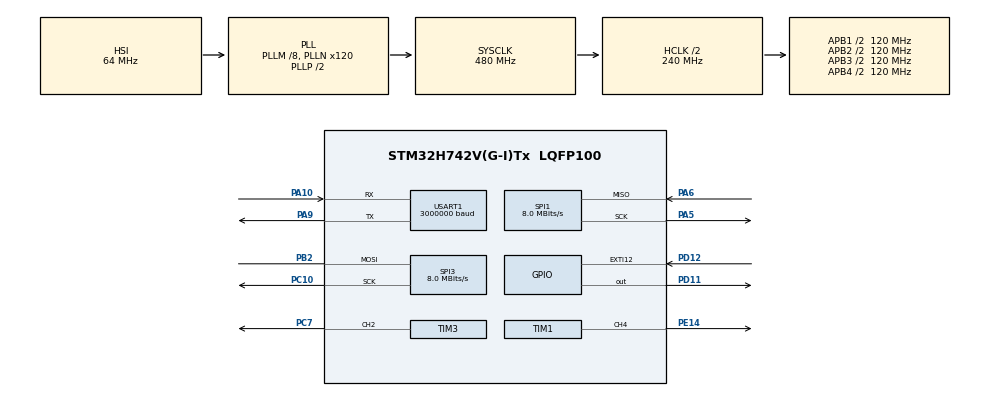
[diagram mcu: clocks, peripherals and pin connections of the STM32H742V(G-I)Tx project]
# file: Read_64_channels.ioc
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CORTEX_M7.default_mode_Activation=1
Dma.Request0=SPI1_RX
Dma.Request1=USART1_TX
Dma.SPI1_RX.0.Direction=DMA_PERIPH_TO_MEMORY
Dma.SPI1_RX.0.EventEnable=DISABLE
Dma.SPI1_RX.0.FIFOMode=DMA_FIFOMODE_DISABLE
Dma.SPI1_RX.0.Instance=DMA1_Stream0
Dma.SPI1_RX.0.MemDataAlignment=DMA_MDATAALIGN_HALFWORD
Dma.SPI1_RX.0.MemInc=DMA_MINC_ENABLE
Dma.SPI1_RX.0.Mode=DMA_NORMAL
Dma.SPI1_RX.0.PeriphDataAlignment=DMA_PDATAALIGN_HALFWORD
Dma.SPI1_RX.0.PeriphInc=DMA_PINC_DISABLE
Dma.SPI1_RX.0.Polarity=HAL_DMAMUX_REQ_GEN_RISING
Dma.SPI1_RX.0.Priority=DMA_PRIORITY_HIGH
Dma.SPI1_RX.0.RequestNumber=1
Dma.SPI1_RX.0.SignalID=NONE
Dma.SPI1_RX.0.SyncEnable=DISABLE
Dma.SPI1_RX.0.SyncPolarity=HAL_DMAMUX_SYNC_NO_EVENT
Dma.SPI1_RX.0.SyncRequestNumber=1
Dma.SPI1_RX.0.SyncSignalID=NONE
Dma.USART1_TX.1.Direction=DMA_MEMORY_TO_PERIPH
Dma.USART1_TX.1.EventEnable=DISABLE
Dma.USART1_TX.1.FIFOMode=DMA_FIFOMODE_DISABLE
Dma.USART1_TX.1.Instance=DMA1_Stream1
Dma.USART1_TX.1.MemDataAlignment=DMA_MDATAALIGN_BYTE
Dma.USART1_TX.1.MemInc=DMA_MINC_ENABLE
Dma.USART1_TX.1.Mode=DMA_NORMAL
Dma.USART1_TX.1.PeriphDataAlignment=DMA_PDATAALIGN_BYTE
Dma.USART1_TX.1.PeriphInc=DMA_PINC_DISABLE
Dma.USART1_TX.1.Polarity=HAL_DMAMUX_REQ_GEN_RISING
Dma.USART1_TX.1.Priority=DMA_PRIORITY_LOW
Dma.USART1_TX.1.RequestNumber=1
Dma.USART1_TX.1.SignalID=NONE
Dma.USART1_TX.1.SyncEnable=DISABLE
Dma.USART1_TX.1.SyncPolarity=HAL_DMAMUX_SYNC_NO_EVENT
Dma.USART1_TX.1.SyncRequestNumber=1
Dma.USART1_TX.1.SyncSignalID=NONE
Mcu.Family=STM32H7
Mcu.Name=STM32H742V(G-I)Tx
Mcu.Package=LQFP100
NVIC.DMA1_Stream0_IRQn=true\:0\:0\:false\:false\:true\:false\:true\:true
NVIC.DMA1_Stream1_IRQn=true\:0\:0\:false\:false\:true\:false\:true\:true
NVIC.EXTI15_10_IRQn=true\:0\:0\:false\:false\:true\:true\:true\:true
NVIC.PriorityGroup=NVIC_PRIORITYGROUP_4
NVIC.SPI1_IRQn=true\:0\:0\:false\:false\:true\:false\:true\:true
NVIC.TIM2_IRQn=true\:0\:0\:false\:false\:true\:true\:true\:true
NVIC.USART1_IRQn=true\:0\:0\:false\:false\:true\:true\:true\:true
PA10.Mode=Asynchronous
PA10.Signal=USART1_RX
PA5.GPIO_Speed=GPIO_SPEED_FREQ_VERY_HIGH
PA5.Mode=RX_Only_Simplex_Unidirect_Master
PA5.Signal=SPI1_SCK
PA6.GPIO_Speed=GPIO_SPEED_FREQ_VERY_HIGH
PA6.Mode=RX_Only_Simplex_Unidirect_Master
PA6.Signal=SPI1_MISO
PA9.Mode=Asynchronous
PA9.Signal=USART1_TX
PB2.GPIO_Speed=GPIO_SPEED_FREQ_VERY_HIGH
PB2.Mode=Simplex_Bidirectional_Master
PB2.Signal=SPI3_MOSI
PC10.Mode=Simplex_Bidirectional_Master
PC10.Signal=SPI3_SCK
PC7.Signal=S_TIM3_CH2
PD11.PinState=GPIO_PIN_SET
PD11.Signal=GPIO_Output
PD12.GPIO_ModeDefaultEXTI=GPIO_MODE_IT_FALLING
PD12.GPIO_PuPd=GPIO_PULLUP
PD12.Signal=GPXTI12
PE14.Signal=S_TIM1_CH4
ProjectManager.HeapSize=0x200
ProjectManager.StackSize=0x400
ProjectManager.TargetToolchain=STM32CubeIDE
RCC.ADCFreq_Value=32000000
RCC.APB1Freq_Value=120000000
RCC.APB2Freq_Value=120000000
RCC.APB3Freq_Value=120000000
RCC.APB4Freq_Value=120000000
RCC.CortexFreq_Value=480000000
RCC.D1PPRE=RCC_APB3_DIV2
RCC.D2PPRE1=RCC_APB1_DIV2
RCC.D2PPRE2=RCC_APB2_DIV2
RCC.D3PPRE=RCC_APB4_DIV2
RCC.DIVM1=8
RCC.DIVM2=8
RCC.DIVN1=120
RCC.DIVN2=64
RCC.DIVP2=16
RCC.HCLKFreq_Value=240000000
RCC.HPRE=RCC_HCLK_DIV2
RCC.PLLFRACN=0
RCC.SPI123CLockSelection=RCC_SPI123CLKSOURCE_PLL2
RCC.SYSCLKFreq_VALUE=480000000
RCC.SYSCLKSource=RCC_SYSCLKSOURCE_PLLCLK
RCC.USBFreq_Value=480000000
SH.S_TIM1_CH4.0=TIM1_CH4,PWM Generation4 CH4
SH.S_TIM3_CH2.0=TIM3_CH2,PWM Generation2 CH2
SPI1.BaudRatePrescaler=SPI_BAUDRATEPRESCALER_4
SPI1.CLKPolarity=SPI_POLARITY_LOW
SPI1.CalculateBaudRate=8.0 MBits/s
SPI1.DataSize=SPI_DATASIZE_16BIT
SPI1.Direction=SPI_DIRECTION_2LINES_RXONLY
SPI1.Mode=SPI_MODE_MASTER
SPI1.VirtualType=VM_MASTER
SPI3.BaudRatePrescaler=SPI_BAUDRATEPRESCALER_4
SPI3.CLKPhase=SPI_PHASE_2EDGE
SPI3.CalculateBaudRate=8.0 MBits/s
SPI3.DataSize=SPI_DATASIZE_12BIT
SPI3.Direction=SPI_DIRECTION_1LINE
SPI3.Mode=SPI_MODE_MASTER
SPI3.VirtualType=VM_MASTER
TIM1.Channel-PWM\ Generation4\ CH4=TIM_CHANNEL_4
TIM1.Period=11
TIM1.Pulse-PWM\ Generation4\ CH4=6
TIM1.TIM_MasterOutputTrigger=TIM_TRGO_UPDATE
TIM1.TIM_MasterSlaveMode=TIM_MASTERSLAVEMODE_ENABLE
TIM2.Period=9
TIM2.Prescaler=23
TIM3.Channel-PWM\ Generation2\ CH2=TIM_CHANNEL_2
TIM3.Period=999
TIM3.Prescaler=19
TIM3.Pulse-PWM\ Generation2\ CH2=500
TIM3.TIM_MasterSlaveMode=TIM_MASTERSLAVEMODE_DISABLE
TIM5.Prescaler=239
USART1.BaudRate=3000000
USART1.VirtualMode-Asynchronous=VM_ASYNC
VP_MEMORYMAP_VS_MEMORYMAP.Mode=CurAppReg
VP_TIM1_VS_ClockSourceINT.Mode=Internal
VP_TIM2_VS_ClockSourceINT.Mode=Internal
VP_TIM3_VS_ClockSourceINT.Mode=Internal
VP_TIM3_VS_ClockSourceITR.Mode=TriggerSource_ITR0
VP_TIM3_VS_ControllerModeGated.Mode=Gated Mode
VP_TIM5_VS_ClockSourceINT.Mode=Internal
board=custom

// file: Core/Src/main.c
/* USER CODE BEGIN Header */
/**
  ******************************************************************************
  * @file           : main.c
  * @brief          : Main program body
  ******************************************************************************
  * @attention
  *
  * Copyright (c) 2025 STMicroelectronics.
  * All rights reserved.
  *
  * This software is licensed under terms that can be found in the LICENSE file
  * in the root directory of this software component.
  * If no LICENSE file comes with this software, it is provided AS-IS.
  *
  ******************************************************************************
  */
/* USER CODE END Header */
#include "main.h"

/* USER CODE BEGIN Includes */
#include <string.h>
#include <stdio.h>
/* USER CODE END Includes */

/* USER CODE BEGIN PTD */
#define NUM_CHANNELS 64
#define NUM_OF_DATA 32
#define HALF_NUM_OF_DATA 16
#define DIM_TEST_PACKET 8

#define PACKET_SIZE 64
#define OFFSET 0
typedef struct __attribute__((packed)) {
    uint8_t  header[3];      // 0x3C, 0x3E, 0x00
    uint32_t timestamp_us;   // from TIM5
    int16_t  ch[PACKET_SIZE];         // channels
} SamplePacket;

/* USER CODE END PTD */

SPI_HandleTypeDef hspi1;
SPI_HandleTypeDef hspi3;
DMA_HandleTypeDef hdma_spi1_rx;

TIM_HandleTypeDef htim1;
TIM_HandleTypeDef htim2;
TIM_HandleTypeDef htim3;
TIM_HandleTypeDef htim5;

UART_HandleTypeDef huart1;
DMA_HandleTypeDef hdma_usart1_tx;

/* USER CODE BEGIN PV */
// --- System state flags ---
volatile uint8_t delay_counter = 0;		// Used during the TIM2 startup sequence (test/init logic)
volatile uint8_t acq_enabled   = 0;      // Acquisition enable/disable flag (controlled via UART commands)
volatile uint8_t uart_tx_done  = 1;      // UART DMA transmission ready flag

// --- SPI Data Buffers ---
volatile uint16_t rx_spi_buffer[NUM_OF_DATA];   // Buffer used only for the initial test pattern sequence
volatile uint16_t spi_rx_buffer[NUM_CHANNELS];  // Main SPI data buffer (64 channels), filled by DMA

// --- Test pattern verification buffers ---
uint8_t test_packet_1[DIM_TEST_PACKET];         // Extracted bytes from the first half of rx_spi_buffer
uint8_t test_packet_2[DIM_TEST_PACKET];         // Extracted bytes from the second half of rx_spi_buffer

// Reference test packet used to validate ADC test mode output
static const uint8_t ref_packet[DIM_TEST_PACKET] =
    {0x30,0x00,0x66,0xF0,0x24,0x01,0xF6,0x80};

// --- DDC232 Configuration Command ---
static const uint16_t value = 0xEC0;    // 12-bit configuration command sent via SPI3

// --- UART Transmission Packet ---
static SamplePacket pkt;                // DMA-safe data packet (static to avoid stack corruption)

// --- UART Receive Buffers ---
char rx_buffer[32];                     // Holds incoming ASCII command ("start", "stop", etc.)
uint8_t rx_index = 0;                   // Current index while building UART command
uint8_t rx_byte;                        // Single received byte via UART interrupt

/* USER CODE END PV */

void SystemClock_Config(void);
void PeriphCommonClock_Config(void);
static void MPU_Config(void);
static void MX_GPIO_Init(void);
static void MX_DMA_Init(void);
static void MX_TIM2_Init(void);
static void MX_USART1_UART_Init(void);
static void MX_SPI3_Init(void);
static void MX_SPI1_Init(void);
static void MX_TIM1_Init(void);
static void MX_TIM3_Init(void);
static void MX_TIM5_Init(void);

int main(void)
{

  /* MPU Configuration--------------------------------------------------------*/
  MPU_Config();

  /* MCU Configuration--------------------------------------------------------*/

  /* Reset of all peripherals, Initializes the Flash interface and the Systick. */
  HAL_Init();

  /* Configure the system clock */
  SystemClock_Config();

  /* Configure the peripherals common clocks */
  PeriphCommonClock_Config();

  /* Initialize all configured peripherals */
  MX_GPIO_Init();
  MX_DMA_Init();
  MX_TIM2_Init();
  MX_USART1_UART_Init();
  MX_SPI3_Init();
  MX_SPI1_Init();
  MX_TIM1_Init();
  MX_TIM3_Init();
  MX_TIM5_Init();
  /* USER CODE BEGIN 2 */
  HAL_UART_Receive_IT(&huart1, &rx_byte, 1);
  HAL_TIM_PWM_Start(&htim1, TIM_CHANNEL_4);
  HAL_TIM_Base_Start(&htim5);
  /* USER CODE END 2 */

  /* Infinite loop */
  while (1)
  {

  }
}

void SystemClock_Config(void)
{
  RCC_OscInitTypeDef RCC_OscInitStruct = {0};
  RCC_ClkInitTypeDef RCC_ClkInitStruct = {0};

  /** Supply configuration update enable
  */
  HAL_PWREx_ConfigSupply(PWR_LDO_SUPPLY);

  /** Configure the main internal regulator output voltage
  */
  __HAL_PWR_VOLTAGESCALING_CONFIG(PWR_REGULATOR_VOLTAGE_SCALE0);

  while(!__HAL_PWR_GET_FLAG(PWR_FLAG_VOSRDY)) {}

  /** Initializes the RCC Oscillators according to the specified parameters
  * in the RCC_OscInitTypeDef structure.
  */
  RCC_OscInitStruct.OscillatorType = RCC_OSCILLATORTYPE_HSI;
  RCC_OscInitStruct.HSIState = RCC_HSI_DIV1;
  RCC_OscInitStruct.HSICalibrationValue = RCC_HSICALIBRATION_DEFAULT;
  RCC_OscInitStruct.PLL.PLLState = RCC_PLL_ON;
  RCC_OscInitStruct.PLL.PLLSource = RCC_PLLSOURCE_HSI;
  RCC_OscInitStruct.PLL.PLLM = 8;
  RCC_OscInitStruct.PLL.PLLN = 120;
  RCC_OscInitStruct.PLL.PLLP = 2;
  RCC_OscInitStruct.PLL.PLLQ = 2;
  RCC_OscInitStruct.PLL.PLLR = 2;
  RCC_OscInitStruct.PLL.PLLRGE = RCC_PLL1VCIRANGE_3;
  RCC_OscInitStruct.PLL.PLLVCOSEL = RCC_PLL1VCOWIDE;
  RCC_OscInitStruct.PLL.PLLFRACN = 0;
  if (HAL_RCC_OscConfig(&RCC_OscInitStruct) != HAL_OK)
  {
    Error_Handler();
  }

  /** Initializes the CPU, AHB and APB buses clocks
  */
  RCC_ClkInitStruct.ClockType = RCC_CLOCKTYPE_HCLK|RCC_CLOCKTYPE_SYSCLK
                              |RCC_CLOCKTYPE_PCLK1|RCC_CLOCKTYPE_PCLK2
                              |RCC_CLOCKTYPE_D3PCLK1|RCC_CLOCKTYPE_D1PCLK1;
  RCC_ClkInitStruct.SYSCLKSource = RCC_SYSCLKSOURCE_PLLCLK;
  RCC_ClkInitStruct.SYSCLKDivider = RCC_SYSCLK_DIV1;
  RCC_ClkInitStruct.AHBCLKDivider = RCC_HCLK_DIV2;
  RCC_ClkInitStruct.APB3CLKDivider = RCC_APB3_DIV2;
  RCC_ClkInitStruct.APB1CLKDivider = RCC_APB1_DIV2;
  RCC_ClkInitStruct.APB2CLKDivider = RCC_APB2_DIV2;
  RCC_ClkInitStruct.APB4CLKDivider = RCC_APB4_DIV2;

  if (HAL_RCC_ClockConfig(&RCC_ClkInitStruct, FLASH_LATENCY_4) != HAL_OK)
  {
    Error_Handler();
  }
}

void PeriphCommonClock_Config(void)
{
  RCC_PeriphCLKInitTypeDef PeriphClkInitStruct = {0};

  /** Initializes the peripherals clock
  */
  PeriphClkInitStruct.PeriphClockSelection = RCC_PERIPHCLK_SPI3|RCC_PERIPHCLK_SPI1;
  PeriphClkInitStruct.PLL2.PLL2M = 8;
  PeriphClkInitStruct.PLL2.PLL2N = 64;
  PeriphClkInitStruct.PLL2.PLL2P = 16;
  PeriphClkInitStruct.PLL2.PLL2Q = 2;
  PeriphClkInitStruct.PLL2.PLL2R = 2;
  PeriphClkInitStruct.PLL2.PLL2RGE = RCC_PLL2VCIRANGE_3;
  PeriphClkInitStruct.PLL2.PLL2VCOSEL = RCC_PLL2VCOWIDE;
  PeriphClkInitStruct.PLL2.PLL2FRACN = 0;
  PeriphClkInitStruct.Spi123ClockSelection = RCC_SPI123CLKSOURCE_PLL2;
  if (HAL_RCCEx_PeriphCLKConfig(&PeriphClkInitStruct) != HAL_OK)
  {
    Error_Handler();
  }
}

static void MX_SPI1_Init(void)
{

  /* SPI1 parameter configuration*/
  hspi1.Instance = SPI1;
  hspi1.Init.Mode = SPI_MODE_MASTER;
  hspi1.Init.Direction = SPI_DIRECTION_2LINES_RXONLY;
  hspi1.Init.DataSize = SPI_DATASIZE_16BIT;
  hspi1.Init.CLKPolarity = SPI_POLARITY_LOW;
  hspi1.Init.CLKPhase = SPI_PHASE_1EDGE;
  hspi1.Init.NSS = SPI_NSS_SOFT;
  hspi1.Init.BaudRatePrescaler = SPI_BAUDRATEPRESCALER_4;
  hspi1.Init.FirstBit = SPI_FIRSTBIT_MSB;
  hspi1.Init.TIMode = SPI_TIMODE_DISABLE;
  hspi1.Init.CRCCalculation = SPI_CRCCALCULATION_DISABLE;
  hspi1.Init.CRCPolynomial = 0x0;
  hspi1.Init.NSSPMode = SPI_NSS_PULSE_ENABLE;
  hspi1.Init.NSSPolarity = SPI_NSS_POLARITY_LOW;
  hspi1.Init.FifoThreshold = SPI_FIFO_THRESHOLD_01DATA;
  hspi1.Init.TxCRCInitializationPattern = SPI_CRC_INITIALIZATION_ALL_ZERO_PATTERN;
  hspi1.Init.RxCRCInitializationPattern = SPI_CRC_INITIALIZATION_ALL_ZERO_PATTERN;
  hspi1.Init.MasterSSIdleness = SPI_MASTER_SS_IDLENESS_00CYCLE;
  hspi1.Init.MasterInterDataIdleness = SPI_MASTER_INTERDATA_IDLENESS_00CYCLE;
  hspi1.Init.MasterReceiverAutoSusp = SPI_MASTER_RX_AUTOSUSP_DISABLE;
  hspi1.Init.MasterKeepIOState = SPI_MASTER_KEEP_IO_STATE_DISABLE;
  hspi1.Init.IOSwap = SPI_IO_SWAP_DISABLE;
  if (HAL_SPI_Init(&hspi1) != HAL_OK)
  {
    Error_Handler();
  }

}

static void MX_SPI3_Init(void)
{

  /* SPI3 parameter configuration*/
  hspi3.Instance = SPI3;
  hspi3.Init.Mode = SPI_MODE_MASTER;
  hspi3.Init.Direction = SPI_DIRECTION_1LINE;
  hspi3.Init.DataSize = SPI_DATASIZE_12BIT;
  hspi3.Init.CLKPolarity = SPI_POLARITY_LOW;
  hspi3.Init.CLKPhase = SPI_PHASE_2EDGE;
  hspi3.Init.NSS = SPI_NSS_SOFT;
  hspi3.Init.BaudRatePrescaler = SPI_BAUDRATEPRESCALER_4;
  hspi3.Init.FirstBit = SPI_FIRSTBIT_MSB;
  hspi3.Init.TIMode = SPI_TIMODE_DISABLE;
  hspi3.Init.CRCCalculation = SPI_CRCCALCULATION_DISABLE;
  hspi3.Init.CRCPolynomial = 0x0;
  hspi3.Init.NSSPMode = SPI_NSS_PULSE_ENABLE;
  hspi3.Init.NSSPolarity = SPI_NSS_POLARITY_LOW;
  hspi3.Init.FifoThreshold = SPI_FIFO_THRESHOLD_01DATA;
  hspi3.Init.TxCRCInitializationPattern = SPI_CRC_INITIALIZATION_ALL_ZERO_PATTERN;
  hspi3.Init.RxCRCInitializationPattern = SPI_CRC_INITIALIZATION_ALL_ZERO_PATTERN;
  hspi3.Init.MasterSSIdleness = SPI_MASTER_SS_IDLENESS_00CYCLE;
  hspi3.Init.MasterInterDataIdleness = SPI_MASTER_INTERDATA_IDLENESS_00CYCLE;
  hspi3.Init.MasterReceiverAutoSusp = SPI_MASTER_RX_AUTOSUSP_DISABLE;
  hspi3.Init.MasterKeepIOState = SPI_MASTER_KEEP_IO_STATE_DISABLE;
  hspi3.Init.IOSwap = SPI_IO_SWAP_DISABLE;
  if (HAL_SPI_Init(&hspi3) != HAL_OK)
  {
    Error_Handler();
  }

}

static void MX_TIM1_Init(void)
{

  TIM_ClockConfigTypeDef sClockSourceConfig = {0};
  TIM_MasterConfigTypeDef sMasterConfig = {0};
  TIM_OC_InitTypeDef sConfigOC = {0};
  TIM_BreakDeadTimeConfigTypeDef sBreakDeadTimeConfig = {0};

  htim1.Instance = TIM1;
  htim1.Init.Prescaler = 0;
  htim1.Init.CounterMode = TIM_COUNTERMODE_UP;
  htim1.Init.Period = 11;
  htim1.Init.ClockDivision = TIM_CLOCKDIVISION_DIV1;
  htim1.Init.RepetitionCounter = 0;
  htim1.Init.AutoReloadPreload = TIM_AUTORELOAD_PRELOAD_DISABLE;
  if (HAL_TIM_Base_Init(&htim1) != HAL_OK)
  {
    Error_Handler();
  }
  sClockSourceConfig.ClockSource = TIM_CLOCKSOURCE_INTERNAL;
  if (HAL_TIM_ConfigClockSource(&htim1, &sClockSourceConfig) != HAL_OK)
  {
    Error_Handler();
  }
  if (HAL_TIM_PWM_Init(&htim1) != HAL_OK)
  {
    Error_Handler();
  }
  sMasterConfig.MasterOutputTrigger = TIM_TRGO_UPDATE;
  sMasterConfig.MasterOutputTrigger2 = TIM_TRGO2_RESET;
  sMasterConfig.MasterSlaveMode = TIM_MASTERSLAVEMODE_ENABLE;
  if (HAL_TIMEx_MasterConfigSynchronization(&htim1, &sMasterConfig) != HAL_OK)
  {
    Error_Handler();
  }
  sConfigOC.OCMode = TIM_OCMODE_PWM1;
  sConfigOC.Pulse = 6;
  sConfigOC.OCPolarity = TIM_OCPOLARITY_HIGH;
  sConfigOC.OCFastMode = TIM_OCFAST_DISABLE;
  sConfigOC.OCIdleState = TIM_OCIDLESTATE_RESET;
  sConfigOC.OCNIdleState = TIM_OCNIDLESTATE_RESET;
  if (HAL_TIM_PWM_ConfigChannel(&htim1, &sConfigOC, TIM_CHANNEL_4) != HAL_OK)
  {
    Error_Handler();
  }
  sBreakDeadTimeConfig.OffStateRunMode = TIM_OSSR_DISABLE;
  sBreakDeadTimeConfig.OffStateIDLEMode = TIM_OSSI_DISABLE;
  sBreakDeadTimeConfig.LockLevel = TIM_LOCKLEVEL_OFF;
  sBreakDeadTimeConfig.DeadTime = 0;
  sBreakDeadTimeConfig.BreakState = TIM_BREAK_DISABLE;
  sBreakDeadTimeConfig.BreakPolarity = TIM_BREAKPOLARITY_HIGH;
  sBreakDeadTimeConfig.BreakFilter = 0;
  sBreakDeadTimeConfig.Break2State = TIM_BREAK2_DISABLE;
  sBreakDeadTimeConfig.Break2Polarity = TIM_BREAK2POLARITY_HIGH;
  sBreakDeadTimeConfig.Break2Filter = 0;
  sBreakDeadTimeConfig.AutomaticOutput = TIM_AUTOMATICOUTPUT_DISABLE;
  if (HAL_TIMEx_ConfigBreakDeadTime(&htim1, &sBreakDeadTimeConfig) != HAL_OK)
  {
    Error_Handler();
  }
  HAL_TIM_MspPostInit(&htim1);

}

static void MX_TIM2_Init(void)
{

  TIM_ClockConfigTypeDef sClockSourceConfig = {0};
  TIM_MasterConfigTypeDef sMasterConfig = {0};

  htim2.Instance = TIM2;
  htim2.Init.Prescaler = 23;
  htim2.Init.CounterMode = TIM_COUNTERMODE_UP;
  htim2.Init.Period = 9;
  htim2.Init.ClockDivision = TIM_CLOCKDIVISION_DIV1;
  htim2.Init.AutoReloadPreload = TIM_AUTORELOAD_PRELOAD_DISABLE;
  if (HAL_TIM_Base_Init(&htim2) != HAL_OK)
  {
    Error_Handler();
  }
  sClockSourceConfig.ClockSource = TIM_CLOCKSOURCE_INTERNAL;
  if (HAL_TIM_ConfigClockSource(&htim2, &sClockSourceConfig) != HAL_OK)
  {
    Error_Handler();
  }
  sMasterConfig.MasterOutputTrigger = TIM_TRGO_RESET;
  sMasterConfig.MasterSlaveMode = TIM_MASTERSLAVEMODE_DISABLE;
  if (HAL_TIMEx_MasterConfigSynchronization(&htim2, &sMasterConfig) != HAL_OK)
  {
    Error_Handler();
  }

}

static void MX_TIM3_Init(void)
{

  TIM_ClockConfigTypeDef sClockSourceConfig = {0};
  TIM_SlaveConfigTypeDef sSlaveConfig = {0};
  TIM_MasterConfigTypeDef sMasterConfig = {0};
  TIM_OC_InitTypeDef sConfigOC = {0};

  htim3.Instance = TIM3;
  htim3.Init.Prescaler = 19;
  htim3.Init.CounterMode = TIM_COUNTERMODE_UP;
  htim3.Init.Period = 999;
  htim3.Init.ClockDivision = TIM_CLOCKDIVISION_DIV1;
  htim3.Init.AutoReloadPreload = TIM_AUTORELOAD_PRELOAD_DISABLE;
  if (HAL_TIM_Base_Init(&htim3) != HAL_OK)
  {
    Error_Handler();
  }
  sClockSourceConfig.ClockSource = TIM_CLOCKSOURCE_INTERNAL;
  if (HAL_TIM_ConfigClockSource(&htim3, &sClockSourceConfig) != HAL_OK)
  {
    Error_Handler();
  }
  if (HAL_TIM_PWM_Init(&htim3) != HAL_OK)
  {
    Error_Handler();
  }
  sSlaveConfig.SlaveMode = TIM_SLAVEMODE_GATED;
  sSlaveConfig.InputTrigger = TIM_TS_ITR0;
  if (HAL_TIM_SlaveConfigSynchro(&htim3, &sSlaveConfig) != HAL_OK)
  {
    Error_Handler();
  }
  sMasterConfig.MasterOutputTrigger = TIM_TRGO_RESET;
  sMasterConfig.MasterSlaveMode = TIM_MASTERSLAVEMODE_DISABLE;
  if (HAL_TIMEx_MasterConfigSynchronization(&htim3, &sMasterConfig) != HAL_OK)
  {
    Error_Handler();
  }
  sConfigOC.OCMode = TIM_OCMODE_PWM1;
  sConfigOC.Pulse = 500;
  sConfigOC.OCPolarity = TIM_OCPOLARITY_HIGH;
  sConfigOC.OCFastMode = TIM_OCFAST_DISABLE;
  if (HAL_TIM_PWM_ConfigChannel(&htim3, &sConfigOC, TIM_CHANNEL_2) != HAL_OK)
  {
    Error_Handler();
  }
  HAL_TIM_MspPostInit(&htim3);

}

static void MX_TIM5_Init(void)
{

  TIM_ClockConfigTypeDef sClockSourceConfig = {0};
  TIM_MasterConfigTypeDef sMasterConfig = {0};

  htim5.Instance = TIM5;
  htim5.Init.Prescaler = 239;
  htim5.Init.CounterMode = TIM_COUNTERMODE_UP;
  htim5.Init.Period = 4294967295;
  htim5.Init.ClockDivision = TIM_CLOCKDIVISION_DIV1;
  htim5.Init.AutoReloadPreload = TIM_AUTORELOAD_PRELOAD_DISABLE;
  if (HAL_TIM_Base_Init(&htim5) != HAL_OK)
  {
    Error_Handler();
  }
  sClockSourceConfig.ClockSource = TIM_CLOCKSOURCE_INTERNAL;
  if (HAL_TIM_ConfigClockSource(&htim5, &sClockSourceConfig) != HAL_OK)
  {
    Error_Handler();
  }
  sMasterConfig.MasterOutputTrigger = TIM_TRGO_RESET;
  sMasterConfig.MasterSlaveMode = TIM_MASTERSLAVEMODE_DISABLE;
  if (HAL_TIMEx_MasterConfigSynchronization(&htim5, &sMasterConfig) != HAL_OK)
  {
    Error_Handler();
  }

}

static void MX_USART1_UART_Init(void)
{

  huart1.Instance = USART1;
  huart1.Init.BaudRate = 3000000;
  huart1.Init.WordLength = UART_WORDLENGTH_8B;
  huart1.Init.StopBits = UART_STOPBITS_1;
  huart1.Init.Parity = UART_PARITY_NONE;
  huart1.Init.Mode = UART_MODE_TX_RX;
  huart1.Init.HwFlowCtl = UART_HWCONTROL_NONE;
  huart1.Init.OverSampling = UART_OVERSAMPLING_16;
  huart1.Init.OneBitSampling = UART_ONE_BIT_SAMPLE_DISABLE;
  huart1.Init.ClockPrescaler = UART_PRESCALER_DIV1;
  huart1.AdvancedInit.AdvFeatureInit = UART_ADVFEATURE_NO_INIT;
  if (HAL_UART_Init(&huart1) != HAL_OK)
  {
    Error_Handler();
  }
  if (HAL_UARTEx_SetTxFifoThreshold(&huart1, UART_TXFIFO_THRESHOLD_1_8) != HAL_OK)
  {
    Error_Handler();
  }
  if (HAL_UARTEx_SetRxFifoThreshold(&huart1, UART_RXFIFO_THRESHOLD_1_8) != HAL_OK)
  {
    Error_Handler();
  }
  if (HAL_UARTEx_DisableFifoMode(&huart1) != HAL_OK)
  {
    Error_Handler();
  }

}

static void MX_DMA_Init(void)
{

  /* DMA controller clock enable */
  __HAL_RCC_DMA1_CLK_ENABLE();

  /* DMA interrupt init */
  /* DMA1_Stream0_IRQn interrupt configuration */
  HAL_NVIC_SetPriority(DMA1_Stream0_IRQn, 0, 0);
  HAL_NVIC_EnableIRQ(DMA1_Stream0_IRQn);
  /* DMA1_Stream1_IRQn interrupt configuration */
  HAL_NVIC_SetPriority(DMA1_Stream1_IRQn, 0, 0);
  HAL_NVIC_EnableIRQ(DMA1_Stream1_IRQn);

}

static void MX_GPIO_Init(void)
{
  GPIO_InitTypeDef GPIO_InitStruct = {0};

  /* GPIO Ports Clock Enable */
  __HAL_RCC_GPIOA_CLK_ENABLE();
  __HAL_RCC_GPIOB_CLK_ENABLE();
  __HAL_RCC_GPIOE_CLK_ENABLE();
  __HAL_RCC_GPIOD_CLK_ENABLE();
  __HAL_RCC_GPIOC_CLK_ENABLE();

  /*Configure GPIO pin Output Level */
  HAL_GPIO_WritePin(GPIOD, GPIO_PIN_11, GPIO_PIN_SET);

  /*Configure GPIO pin : PD11 */
  GPIO_InitStruct.Pin = GPIO_PIN_11;
  GPIO_InitStruct.Mode = GPIO_MODE_OUTPUT_PP;
  GPIO_InitStruct.Pull = GPIO_NOPULL;
  GPIO_InitStruct.Speed = GPIO_SPEED_FREQ_LOW;
  HAL_GPIO_Init(GPIOD, &GPIO_InitStruct);

  /*Configure GPIO pin : PD12 */
  GPIO_InitStruct.Pin = GPIO_PIN_12;
  GPIO_InitStruct.Mode = GPIO_MODE_IT_FALLING;
  GPIO_InitStruct.Pull = GPIO_PULLUP;
  HAL_GPIO_Init(GPIOD, &GPIO_InitStruct);

  /* EXTI interrupt init*/
  HAL_NVIC_SetPriority(EXTI15_10_IRQn, 0, 0);
  HAL_NVIC_EnableIRQ(EXTI15_10_IRQn);

  /* USER CODE BEGIN MX_GPIO_Init_2 */
  /* UART1 */
  GPIO_InitStruct.Pin = GPIO_PIN_9 | GPIO_PIN_10;
  GPIO_InitStruct.Mode = GPIO_MODE_AF_PP;
  GPIO_InitStruct.Pull = GPIO_NOPULL;
  GPIO_InitStruct.Speed = GPIO_SPEED_FREQ_VERY_HIGH;
  GPIO_InitStruct.Alternate = GPIO_AF7_USART1;
  HAL_GPIO_Init(GPIOA, &GPIO_InitStruct);

  /* CONV ON PC7 */
  GPIO_InitStruct.Pin = GPIO_PIN_7;
  GPIO_InitStruct.Mode = GPIO_MODE_AF_PP;
  GPIO_InitStruct.Pull = GPIO_NOPULL;
  GPIO_InitStruct.Speed = GPIO_SPEED_FREQ_VERY_HIGH;
  GPIO_InitStruct.Alternate = GPIO_AF2_TIM3;
  HAL_GPIO_Init(GPIOC, &GPIO_InitStruct);

  /* CLK ON PE14 */
  GPIO_InitStruct.Pin = GPIO_PIN_14;
  GPIO_InitStruct.Mode = GPIO_MODE_AF_PP;
  GPIO_InitStruct.Pull = GPIO_NOPULL;
  GPIO_InitStruct.Speed = GPIO_SPEED_FREQ_VERY_HIGH;
  GPIO_InitStruct.Alternate = GPIO_AF13_TIM1;
  HAL_GPIO_Init(GPIOE, &GPIO_InitStruct);

  /* USER CODE END MX_GPIO_Init_2 */
}

/* USER CODE BEGIN 4 */

void HAL_TIM_PeriodElapsedCallback(TIM_HandleTypeDef *htim)
{
    if (htim->Instance != TIM2) return;

    switch(delay_counter)
    {
        case 1:
        {
        	HAL_GPIO_WritePin(GPIOD, GPIO_PIN_11, GPIO_PIN_SET);
        	break;
        }
        case 3:
        {
        	HAL_SPI_Transmit(&hspi3, (uint8_t*)&value, 1, HAL_MAX_DELAY);
        	break;
        }
        case 6:
        {
        	HAL_SPI_Receive(&hspi1, (uint8_t*)&rx_spi_buffer, NUM_OF_DATA, HAL_MAX_DELAY);
        	uint8_t *raw = (uint8_t*)rx_spi_buffer;

		  for(int i=0; i<DIM_TEST_PACKET; i++)
		  {
			  test_packet_1[i] = raw[(HALF_NUM_OF_DATA*2 - DIM_TEST_PACKET) + i];
		  }

		  for(int i=0; i<DIM_TEST_PACKET; i++)
		  {
			  test_packet_2[i] = raw[(NUM_OF_DATA*2 - DIM_TEST_PACKET) + i];
		  }

		  uint8_t match = (memcmp(test_packet_1, test_packet_2, DIM_TEST_PACKET) == 0);

		  uint8_t match_ref = (memcmp(test_packet_1, ref_packet, DIM_TEST_PACKET) == 0);

		  if(match && match_ref)
		  {
			  HAL_UART_Transmit(&huart1, (uint8_t*)"OK\r\n", 4, HAL_MAX_DELAY);
			  HAL_TIM_PWM_Start(&htim3, TIM_CHANNEL_2);
		  }
		  HAL_TIM_Base_Stop_IT(&htim2);
		  HAL_NVIC_DisableIRQ(TIM2_IRQn);
		  break;
        }
        default: break;
    }
    delay_counter++;
}

void HAL_UART_RxCpltCallback(UART_HandleTypeDef *huart)
{
    if (huart->Instance != USART1)
        return;

    if (rx_byte != '\r' && rx_byte != '\n' && rx_index < sizeof(rx_buffer)-1)
    {
        rx_buffer[rx_index++] = rx_byte;
    }
    else
    {
        rx_buffer[rx_index] = '\0';

        if (strcmp(rx_buffer, "start") == 0)
              {
                  acq_enabled = 1;
                  delay_counter = 0;
                  HAL_GPIO_WritePin(GPIOD, GPIO_PIN_11, GPIO_PIN_RESET);
                  HAL_NVIC_EnableIRQ(TIM2_IRQn);
                  HAL_TIM_Base_Start_IT(&htim2);
              }
        else if (strcmp(rx_buffer, "stop") == 0)
              {
                  acq_enabled = 0;
                  HAL_TIM_PWM_Stop(&htim3, TIM_CHANNEL_2);
                  HAL_SPI_DMAStop(&hspi1);   // <-- ferma SPI1 + DMA
              }
        rx_index = 0;
    }

    HAL_UART_Receive_IT(&huart1, &rx_byte, 1);

}

void HAL_GPIO_EXTI_Callback(uint16_t GPIO_Pin)
{
    if (GPIO_Pin == GPIO_PIN_12 && acq_enabled)
    {
        if (HAL_SPI_GetState(&hspi1) == HAL_SPI_STATE_READY)
        {
            HAL_SPI_Receive_DMA(&hspi1, (uint8_t*)spi_rx_buffer, NUM_CHANNELS);
        }
    }
}

void HAL_SPI_RxCpltCallback(SPI_HandleTypeDef *hspi)
{
    if(hspi->Instance == SPI1 && uart_tx_done && acq_enabled)
    {

        // Header
        pkt.header[0] = 0x3C;
        pkt.header[1] = 0x3E;
        pkt.header[2] = 0x00;

            // Timestamp (µs)
        pkt.timestamp_us = __HAL_TIM_GET_COUNTER(&htim5);

        for(int i = 0 + OFFSET; i < PACKET_SIZE + OFFSET; i++)
        {
        	pkt.ch[i - OFFSET] = __builtin_bswap16(spi_rx_buffer[i]);   // GCC built-in
        }

        uart_tx_done = 0;
        HAL_UART_Transmit_DMA(&huart1, (uint8_t*)&pkt, sizeof(pkt));
    }
}

void HAL_UART_TxCpltCallback(UART_HandleTypeDef *huart)
{
    if(huart->Instance == USART1)
    {
        uart_tx_done = 1; // pronto per prossima trasmissione
    }
}

/* USER CODE END 4 */

 /* MPU Configuration */

void MPU_Config(void)
{
  MPU_Region_InitTypeDef MPU_InitStruct = {0};

  /* Disables the MPU */
  HAL_MPU_Disable();

  /** Initializes and configures the Region and the memory to be protected
  */
  MPU_InitStruct.Enable = MPU_REGION_ENABLE;
  MPU_InitStruct.Number = MPU_REGION_NUMBER0;
  MPU_InitStruct.BaseAddress = 0x0;
  MPU_InitStruct.Size = MPU_REGION_SIZE_4GB;
  MPU_InitStruct.SubRegionDisable = 0x87;
  MPU_InitStruct.TypeExtField = MPU_TEX_LEVEL0;
  MPU_InitStruct.AccessPermission = MPU_REGION_NO_ACCESS;
  MPU_InitStruct.DisableExec = MPU_INSTRUCTION_ACCESS_DISABLE;
  MPU_InitStruct.IsShareable = MPU_ACCESS_SHAREABLE;
  MPU_InitStruct.IsCacheable = MPU_ACCESS_NOT_CACHEABLE;
  MPU_InitStruct.IsBufferable = MPU_ACCESS_NOT_BUFFERABLE;

  HAL_MPU_ConfigRegion(&MPU_InitStruct);
  /* Enables the MPU */
  HAL_MPU_Enable(MPU_PRIVILEGED_DEFAULT);

}

void Error_Handler(void)
{
  __disable_irq();
  while (1)
  {
  }
}
